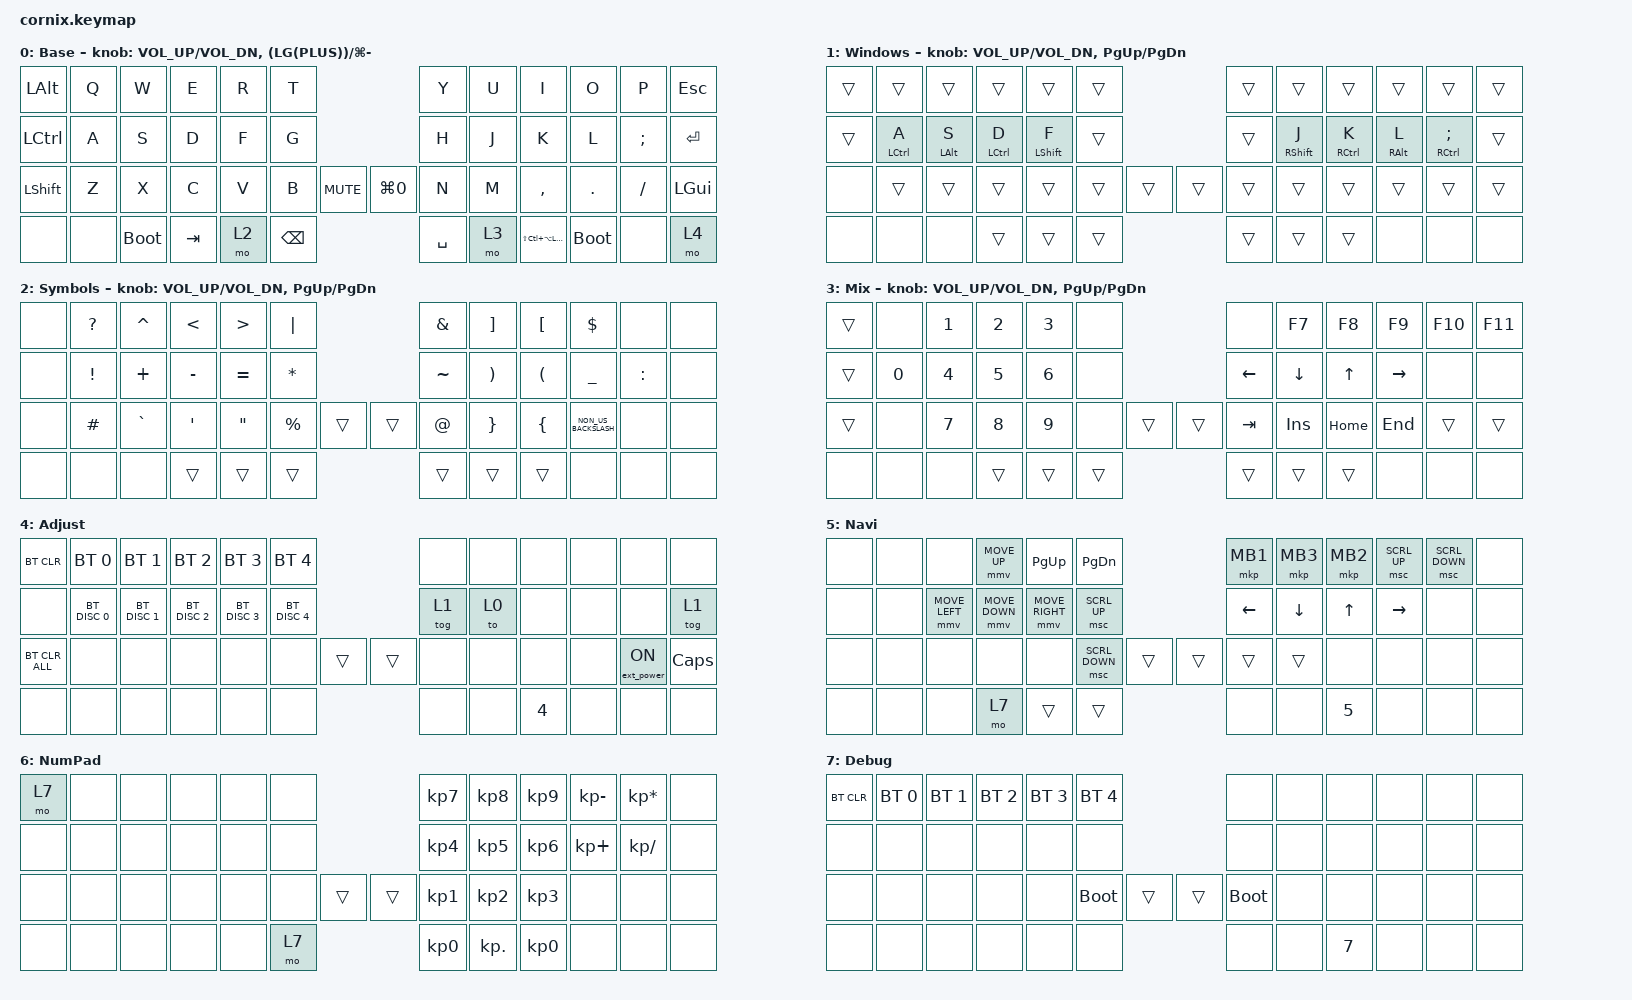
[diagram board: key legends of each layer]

/*
 * Copyright (c) 2020 The ZMK Contributors
 *
 * SPDX-License-Identifier: MIT
 */

#include "zmk-helpers/helper.h"
#include "includes/cornix54.h"

// tap windows for ctl alt and gui

#define HM_TAPPING_TERM 250
#define HM_TAPPING_REPEAT 210

// quick tapping for shift

#define HM_TAPPING_TERM_FAST 200
#define HM_PRIOR_IDLE 70
#define BASE 0
#define WIN 1
#define LOWER 2
#define RAISE 3
#define ADJUST 4
#define NAVI   5
#define NUM    6
#define DEBUG  7

// https://github.com/urob/zmk-config/tree/main#timeless-homerow-mods

#define KEYS_L LT0 LT1 LT2 LT3 LT4 LT5 LM0 LM1 LM2 LM3 LM4 LM5 LB0 LB1 LB2 LB3 LB4 LB5  // left hand
#define KEYS_R RT0 RT1 RT2 RT3 RT4 RT5 RM0 RM1 RM2 RM3 RM4 RM5 RB0 RB1 RB2 RB3 RB4 RB5  // right hand
#define THUMBS LH1 LH0 RH0 RH1
#define KEYS_T LH1 LH0 RH0 RH1
#define ZMK_POINTING_DEFAULT_SCRL_VAL 15

#include <behaviors.dtsi>
#include <dt-bindings/zmk/bt.h>
#include <dt-bindings/zmk/ext_power.h>
#include <dt-bindings/zmk/keys.h>
#include <dt-bindings/zmk/pointing.h>

/ {
    // Activate ADJUST layer by pressing raise and lower

    behaviors {
        hm_l: homerow_mods_left {
            compatible = "zmk,behavior-hold-tap";
            #binding-cells = <2>;
            bindings = <&kp>, <&kp>;

            flavor = "balanced";
            tapping-term-ms = <200>;
            quick-tap-ms = <175>;                // repeat on tap-into-hold
            require-prior-idle-ms = <150>;
            hold-trigger-key-positions = <KEYS_R KEYS_T>;
            hold-trigger-on-release;
        };

        hm_r: homerow_mods_right {
            compatible = "zmk,behavior-hold-tap";
            #binding-cells = <2>;
            bindings = <&kp>, <&kp>;

            flavor = "balanced";
            tapping-term-ms = <250>;
            quick-tap-ms = <100>;
            require-prior-idle-ms = <150>;
            hold-trigger-key-positions = <KEYS_L KEYS_T>;
            hold-trigger-on-release;
        };

        // Positional Homerow mods for shift
        // Use faster tapping term and disable some features that may
        // cause false negatives.

        hm_shift_l: hm_shift_l {
            compatible = "zmk,behavior-hold-tap";
            #binding-cells = <2>;
            bindings = <&kp>, <&kp>;

            //flavor = "balanced";

            flavor = "balanced";
            tapping-term-ms = <HM_TAPPING_TERM_FAST>;
            quick-tap-ms = <200>;
            require-prior-idle-ms = <HM_PRIOR_IDLE>;
            hold-trigger-key-positions = <KEYS_R KEYS_T>;
            hold-trigger-on-release;
        };

        hm_shift_r: hm_shift_r {
            compatible = "zmk,behavior-hold-tap";
            #binding-cells = <2>;
            bindings = <&kp>, <&kp>;

            flavor = "balanced";
            tapping-term-ms = <HM_TAPPING_TERM_FAST>;
            quick-tap-ms = <200>;
            require-prior-idle-ms = <HM_PRIOR_IDLE>;
            hold-trigger-key-positions = <KEYS_L KEYS_T>;

            // for quick tapping; shift+~

            hold-trigger-on-release;
        };

        /*
         * Non-Positional Homerow Mods
         * Used for &mm_grescm_gui behavior on left hand.
         *
         * Usage: &hm LSHFT T
         * Tap: T
         * Tap-Tap-Hold: Repeat T
         * Hold: LSHIFT
         */

        hm: homerow_mods {
            compatible = "zmk,behavior-hold-tap";
            #binding-cells = <2>;
            bindings = <&kp>, <&kp>;

            flavor = "tap-unless-interrupted";
            tapping-term-ms = <HM_TAPPING_TERM>;
            quick-tap-ms = <100>;
            hold-trigger-on-release;
        };

        lt: layer_tap {
            compatible = "zmk,behavior-hold-tap";
            #binding-cells = <2>;
            bindings = <&mo>, <&kp>;

            flavor = "hold-preferred";
            tapping-term-ms = <HM_TAPPING_TERM>;
            quick-tap-ms = <200>;
        };

        holdtap: holdtap {
            compatible = "zmk,behavior-hold-tap";
            label = "HOLDTAP";
            bindings = <&kp>, <&kp>;

            #binding-cells = <2>;
            tapping-term-ms = <100>;
            hold-trigger-on-release;
            flavor = "tap-unless-interrupted";
        };
    };

    conditional_layers {
        compatible = "zmk,conditional-layers";

        adjust_layer {
            if-layers = <3 2>;
            then-layer = <4>;
        };
    };

    combos { compatible = "zmk,combos"; };

    macros {
        claudeenter: hypr {
            compatible = "zmk,behavior-macro";
            #binding-cells = <0>;
            bindings = <&kp BACKSLASH &kp ENTER>;
            label = "HYPR";
        };
    };

    keymap {
        compatible = "zmk,keymap";

        default_layer {
            display-name = "Base";

            // ------------------------------------------------------------------------------------------------------------
            // |   `   |  1  |  2  |  3   |  4   |  5   |                   |  6   |  7    |  8    |  9   |   0   |       |
            // |  ESC  |  Q  |  W  |  E   |  R   |  T   |                   |  Y   |  U    |  I    |  O   |   P   | BKSPC |
            // |  TAB  |  A  |  S  |  D   |  F   |  G   |                   |  H   |  J    |  K    |  L   |   ;   |   '   |
            // | SHIFT |  Z  |  X  |  C   |  V   |  B   |  MUTE  |  |       |  N   |  M    |  ,    |  .   |   /   | SHIFT |
            //               | GUI | ALT  | CTRL | LOWER|  ENTER |  | SPACE | RAISE| CTRL  | ALT   | GUI  |

            bindings = <
&kp LEFT_ALT    &kp Q  &kp W        &kp E    &kp R  &kp T                                  &kp Y      &kp U  &kp I                     &kp O        &kp P          &kp ESCAPE
&kp LCTRL       &kp A  &kp S        &kp D    &kp F  &kp G                                  &kp H      &kp J  &kp K                     &kp L        &kp SEMICOLON  &kp ENTER
&kp LEFT_SHIFT  &kp Z  &kp X        &kp C    &kp V  &kp B          &kp C_MUTE  &kp LG(N0)  &kp N      &kp M  &kp COMMA                 &kp DOT      &kp FSLH       &kp LEFT_GUI
&none           &none  &bootloader  &kp TAB  &mo 2  &kp BACKSPACE                          &kp SPACE  &mo 3  &kp LS(LC(LA(LEFT_GUI)))  &bootloader  &none          &mo 4
            >;

            sensor-bindings =
                <&inc_dec_kp C_VOL_UP C_VOL_DN>,
                <&inc_dec_kp (LG(PLUS)) LG(MINUS)>;
        };

        win_layer {
            display-name = "Windows";

            // ------------------------------------------------------------------------------------------------------------
            // |   `   |  1  |  2  |  3   |  4   |  5   |                   |  6   |  7    |  8    |  9   |   0   |       |
            // |  ESC  |  Q  |  W  |  E   |  R   |  T   |                   |  Y   |  U    |  I    |  O   |   P   | BKSPC |
            // |  TAB  |  A  |  S  |  D   |  F   |  G   |                   |  H   |  J    |  K    |  L   |   ;   |   '   |
            // | SHIFT |  Z  |  X  |  C   |  V   |  B   |  MUTE  |  |       |  N   |  M    |  ,    |  .   |   /   | SHIFT |
            //               | GUI | ALT  | CTRL | LOWER|  ENTER |  | SPACE | RAISE| CTRL  | ALT   | GUI  |

            bindings = <
&trans  &trans         &trans        &trans         &trans               &trans                  &trans  &trans               &trans         &trans        &trans            &trans
&trans  &hm_l LCTRL A  &hm_l LALT S  &hm_l LCTRL D  &hm_shift_l LSHFT F  &trans                  &trans  &hm_shift_r RSHFT J  &hm_r RCTRL K  &hm_r RALT L  &hm_r RCTRL SEMI  &trans
&none   &trans         &trans        &trans         &trans               &trans  &trans  &trans  &trans  &trans               &trans         &trans        &trans            &trans
&none   &none          &none         &trans         &trans               &trans                  &trans  &trans               &trans         &none         &none             &none
            >;

            sensor-bindings = <&inc_dec_kp C_VOL_UP C_VOL_DN &inc_dec_kp PG_UP PG_DN>;
        };

        Symbol_layer {
            display-name = "Symbols";

            // TODO: Some binds are waiting for shifted keycode support.
            // -------------------------------
            // |       |  F1 |  F2 |  F3  |  F4  |  F5  |                   |  F6  |  F7   |  F8   |  F9  |  F10  |  F11  |
            // |   `   |  1  |  2  |  3   |  4   |  5   |                   |  6   |  7    |  8    |  9   |   0   |  F12  |
            // |       |  !  |  @  |  #   |  $   |  %   |                   |  ^   |  &    |  *    |  (   |   )   |   |   |
            // |       |  =  |  -  |  +   |  {   |  }   |        |  |       |  [   |  ]    |  ;    |  :   |   \   |       |
            //               |     |      |      |      |        |  |       |      |       |       |      |

            bindings = <
&none  &kp QUESTION     &kp CARET  &kp LESS_THAN  &kp GREATER_THAN   &kp PIPE                      &kp AMPERSAND  &kp RIGHT_BRACKET      &kp LEFT_BRACKET      &kp DOLLAR            &none      &none
&none  &kp EXCLAMATION  &kp PLUS   &kp MINUS      &kp EQUAL          &kp ASTERISK                  &kp TILDE      &kp RIGHT_PARENTHESIS  &kp LEFT_PARENTHESIS  &kp UNDERSCORE        &kp COLON  &none
&none  &kp HASH         &kp GRAVE  &kp SQT        &kp DOUBLE_QUOTES  &kp PERCENT   &trans  &trans  &kp AT_SIGN    &kp RIGHT_BRACE        &kp LEFT_BRACE        &kp NON_US_BACKSLASH  &none      &none
&none  &none            &none      &trans         &trans             &trans                        &trans         &trans                 &trans                &none                 &none      &none
            >;

            sensor-bindings = <&inc_dec_kp C_VOL_UP C_VOL_DN &inc_dec_kp PG_UP PG_DN>;
        };

        Mix_layer {
            display-name = "Mix";

            // ------------------------------------------------------------------------------------------------------------
            // | BTCLR | BT1  | BT2  |  BT3  |  BT4  |  BT5 |                |      |      |       |      |       |       |
            // |       | INS  | PSCR | GUI   |       |      |                | PGUP |      |   ^   |      |       |       |
            // |       | ALT  | CTRL | SHIFT |       | CAPS |                | PGDN |   <- |   v   |  ->  |  DEL  | BKSPC |
            // |       | UNDO | CUT  | COPY  | PASTE |      |      |  |      |      |      |       |      |       |       |
            //                |      |       |       |      |      |  |      |      |      |       |      |

            bindings = <
&trans  &none   &kp NUMBER_1  &kp NUMBER_2  &kp NUMBER_3  &none                   &none     &kp F7    &kp F8        &kp F9     &kp F10  &kp F11
&trans  &kp N0  &kp N4        &kp N5        &kp NUMBER_6  &none                   &kp LEFT  &kp DOWN  &kp UP_ARROW  &kp RIGHT  &none    &none
&trans  &none   &kp N7        &kp N8        &kp N9        &none   &trans  &trans  &kp TAB   &kp INS   &kp HOME      &kp END    &trans   &trans
&none   &none   &none         &trans        &trans        &trans                  &trans    &trans    &trans        &none      &none    &none
            >;

            sensor-bindings = <&inc_dec_kp C_VOL_UP C_VOL_DN &inc_dec_kp PG_UP PG_DN>;
        };

        Adjust_layer {
            display-name = "Adjust";

            // ----------------------------------------------------------------------------------------------------------------------------
            // | BTCLR  |  BT1    |  BT2    |   BT3   |   BT4   |   BT5   |                  |      |      |       |      |       |       |
            // | moDEBUG| RGB_HUD | RGB_HUI | RGB_SAD | RGB_SAI | RGB_EFF |                  |      |      |       |      |       |       |
            // | EXTPWR | RGB_BRD | RGB_BRI |         |         |         |                  |      |      |       |      |       |       |
            // |        |         |         |         |         |         | RGB_TOG | |      |      |      |       |      |       |       |
            //                    |         |         |         |         |         | |      |      |      |       |      |

            bindings = <
&bt BT_CLR      &bt BT_SEL 0   &bt BT_SEL 1   &bt BT_SEL 2   &bt BT_SEL 3   &bt BT_SEL 4                   &none   &none  &none   &none  &none             &none
&none           &bt BT_DISC 0  &bt BT_DISC 1  &bt BT_DISC 2  &bt BT_DISC 3  &bt BT_DISC 4                  &tog 1  &to 0  &none   &none  &none             &tog 1
&bt BT_CLR_ALL  &none          &none          &none          &none          &none          &trans  &trans  &none   &none  &none   &none  &ext_power EP_ON  &kp CAPSLOCK
&none           &none          &none          &none          &none          &none                          &none   &none  &kp N4  &none  &none             &none
            >;
        };

        Navi_layer {
            display-name = "Navi";
            bindings = <
&none  &none  &none           &mmv MOVE_UP    &kp PAGE_UP      &kp PAGE_DOWN                   &mkp MB1  &mkp MB3  &mkp MB2  &msc SCRL_UP  &msc SCRL_DOWN  &none
&none  &none  &mmv MOVE_LEFT  &mmv MOVE_DOWN  &mmv MOVE_RIGHT  &msc SCRL_UP                    &kp LEFT  &kp DOWN  &kp UP    &kp RIGHT     &none           &none
&none  &none  &none           &none           &none            &msc SCRL_DOWN  &trans  &trans  &trans    &trans    &none     &none         &none           &none
&none  &none  &none           &mo 7           &trans           &trans                          &none     &none     &kp N5    &none         &none           &none
            >;
        };

        KeyPad_layer {
            display-name = "NumPad";
            bindings = <
&mo 7  &none  &none  &none  &none  &none                  &kp KP_N7        &kp KP_N8        &kp KP_N9        &kp KP_MINUS  &kp KP_MULTIPLY  &none
&none  &none  &none  &none  &none  &none                  &kp KP_NUMBER_4  &kp KP_NUMBER_5  &kp KP_N6        &kp KP_PLUS   &kp KP_DIVIDE    &none
&none  &none  &none  &none  &none  &none  &trans  &trans  &kp KP_NUMBER_1  &kp KP_NUMBER_2  &kp KP_N3        &none         &none            &none
&none  &none  &none  &none  &none  &mo 7                  &kp KP_N0        &kp KP_DOT       &kp KP_NUMBER_0  &none         &none            &none
            >;
        };

        Debug_layer {
            display-name = "Debug";

            // ----------------------------------------------------------------------------------------------------------------------------
            // | BTCLR  |  BT1    |  BT2    |   BT3   |   BT4   |   BT5   |                  |      |      |       |      |       |       |
            // | EXTPWR | BTCLR | RGB_HUI | RGB_SAD | RGB_SAI | RGB_EFF |                  |      |      |       |      |       |       |
            // |        | RGB_BRD | RGB_BRI |         |         |         |                  |      |      |       |      |       |       |
            // |        |         |         |         |         |         | RGB_TOG | |      |      |      |       |      |       |       |
            //                    |         |         |         |         |         | |      |      |      |       |      |

            bindings = <
&bt BT_CLR  &bt BT_SEL 0  &bt BT_SEL 1  &bt BT_SEL 2  &bt BT_SEL 3  &bt BT_SEL 4                  &none        &none  &none   &none  &none  &none
&none       &none         &none         &none         &none         &none                         &none        &none  &none   &none  &none  &none
&none       &none         &none         &none         &none         &bootloader   &trans  &trans  &bootloader  &none  &none   &none  &none  &none
&none       &none         &none         &none         &none         &none                         &none        &none  &kp N7  &none  &none  &none
            >;
        };
    };
};

